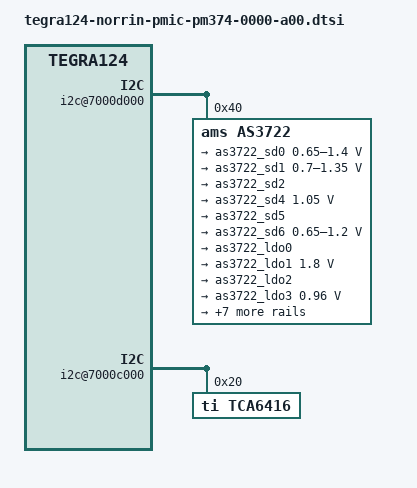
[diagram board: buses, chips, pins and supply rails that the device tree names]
#include <dt-bindings/mfd/as3722.h>

/ {
	i2c@7000d000 {
		as3722: as3722@40 {
			compatible = "ams,as3722";
			reg = <0x40>;
			interrupts = <0 86 IRQ_TYPE_NONE>;

			#interrupt-cells = <2>;
			interrupt-controller;

			gpio-controller;
			#gpio-cells = <2>;

			ams,major-rev = <1>;
			ams,minor-rev = <1>;
			system-pmic-power-off;
			ams,enable-clock32k-out;
			ams,oc-pg-mask = <AS3722_OC_PG_MASK_AC_OK>;

			pinctrl-names = "default";
			pinctrl-0 = <&as3722_default>;

			as3722_default: pinmux@0 {
				gpio0 {
					pins = "gpio0";
					function = "gpio";
					output-low;
				};

				gpio1_2_4_7 {
					pins = "gpio1", "gpio2", "gpio4", "gpio7";
					function = "gpio";
					output-high;
				};

				gpio3_6 {
					pins = "gpio3", "gpio6";
					function = "gpio";
					bias-high-impedance;
				};

				gpio5 {
					pins = "gpio5";
					function = "clk32k-out";
				};
			};

			adc_extcon: adc_extcon {
				ams,enable-adc1-continuous-mode;
				ams,enable-low-voltage-range;
				ams,adc-channel = <12>;
				ams,hi-threshold = <256>;
				ams,low-threshold = <128>;
				#extcon-cells = <1>;
				#io-channel-cells = <1>;
			};

			regulators {
				ldo0-in-supply = <&as3722_sd2>;
				ldo2-in-supply = <&as3722_sd5>;
				ldo5-in-supply = <&as3722_sd5>;
				ldo7-in-supply = <&as3722_sd5>;

				as3722_sd0: sd0 {
				    regulator-name = "vdd-cpu";
				    regulator-min-microvolt = <650000>;
				    regulator-max-microvolt = <1400000>;
				    regulator-max-microamp = <3500000>;
				    regulator-always-on;
				    regulator-boot-on;
				    ams,ext-control = <AS3722_EXT_CONTROL_PIN_ENABLE2>;
				    consumers {
					c0 {
					     regulator-consumer-supply = "vdd_cpu";
					};
				    };
				};

				as3722_sd1: sd1 {
				    regulator-name = "vdd-core";
				    regulator-min-microvolt = <700000>;
				    regulator-max-microvolt = <1350000>;
				    regulator-max-microamp = <3500000>;
				    regulator-always-on;
				    regulator-boot-on;
				    ams,ext-control = <AS3722_EXT_CONTROL_PIN_ENABLE1>;
				    consumers {
					c0 {
					     regulator-consumer-supply = "vdd_core";
					};
				    };
				};

				as3722_sd2: sd2 {
				     regulator-name = "vddio-ddr";
				     regulator-always-on;
				     regulator-boot-on;
				     consumers {
					c0 {
					     regulator-consumer-supply = "vddio_ddr";
					};
					c1 {
					     regulator-consumer-supply = "vddio_ddr_mclk";
					};
					c2 {
					     regulator-consumer-supply = "vddio_ddr3";
					};
					c3 {
					     regulator-consumer-supply = "vcore1_ddr3";
					};
				     };
				};

				as3722_sd4: sd4 {
				    regulator-name = "avdd-pll-pex";
				    regulator-min-microvolt = <1050000>;
				    regulator-max-microvolt = <1050000>;
				    regulator-always-on;
				    regulator-boot-on;
				    ams,ext-control = <AS3722_EXT_CONTROL_PIN_ENABLE1>;
				    consumers {
					c0 {
					     regulator-consumer-supply = "avdd_pex_pll";
					};
					c1 {
					     regulator-consumer-supply = "avddio_pex_pll";
					};
					c2 {
					     regulator-consumer-supply = "dvddio_pex";
					};
					c4 {
					     regulator-consumer-supply = "avdd_sata";
					};
					c5 {
					     regulator-consumer-supply = "vdd_sata";
					};
					c6 {
					     regulator-consumer-supply = "avdd_sata_pll";
					};
					c8 {
					     regulator-consumer-supply = "avdd_hdmi";
					     regulator-consumer-device = "tegradc.1";
					};
				    };
				};

				as3722_sd5: sd5 {
				    regulator-name = "vdd-1v8";
				    regulator-always-on;
				    regulator-boot-on;
				    consumers {
					c0 {
					     regulator-consumer-supply = "vddio_sys";
					};
					c1 {
					     regulator-consumer-supply = "vddio_sys_2";
					};
					c2 {
					     regulator-consumer-supply = "vddio_audio";
					};
					c4 {
					     regulator-consumer-supply = "vddio_sdmmc";
					     regulator-consumer-device = "sdhci-tegra.0";
					};
					c6 {
					     regulator-consumer-supply = "vddio_sdmmc";
					     regulator-consumer-device = "sdhci-tegra.3";
					};
					c8 {
					     regulator-consumer-supply = "vddio_uart";
					};
					c10 {
					     regulator-consumer-supply = "vddio_bb";
					};
					c12 {
					     regulator-consumer-supply = "vddio_gmi";
					};
					c14 {
					     regulator-consumer-supply = "avdd_osc";
					};
				    };
				};

				as3722_sd6: sd6 {
				    regulator-name = "vdd-gpu";
				    regulator-min-microvolt = <650000>;
				    regulator-max-microvolt = <1200000>;
				    regulator-max-microamp = <3500000>;
				    regulator-init-microvolt = <1000000>;
				    regulator-boot-on;

				    consumers {
					c0 {
					     regulator-consumer-supply = "vdd_gpu";
					};
				    };
				};

				as3722_ldo0: ldo0 {
				     regulator-name = "avdd-pll";
				     regulator-always-on;
				     regulator-boot-on;
				     ams,ext-control = <AS3722_EXT_CONTROL_PIN_ENABLE1>;

				     consumers {
					c0 {
					     regulator-consumer-supply = "avdd_pll_m";
					};
					c1 {
					     regulator-consumer-supply = "avdd_pll_ap_c2_c3";
					};
					c2 {
					     regulator-consumer-supply = "avdd_pll_cud2dpd";
					};
					c3 {
					     regulator-consumer-supply = "avdd_pll_c4";
					};
					c4 {
					     regulator-consumer-supply = "avdd_lvds0_io";
					};
					c5 {
					     regulator-consumer-supply = "vddio_ddr_hs";
					};
					c6 {
					     regulator-consumer-supply = "avdd_pll_erefe";
					};
					c7 {
					     regulator-consumer-supply = "avdd_pll_x";
					};
					c8 {
					     regulator-consumer-supply = "avdd_pll_cg";
					};
				    };
				};

				as3722_ldo1: ldo1 {
				     regulator-name = "vdd-cam";
				     regulator-min-microvolt = <1800000>;
				     regulator-max-microvolt = <1800000>;
				     regulator-boot-on;

				     consumers {
					c0 {
					     regulator-consumer-supply = "vddio_cam";
					     regulator-consumer-device = "vi";
					};
					c2 {
					     regulator-consumer-supply = "vdd_cam_1v8_cam";
					};
					c3 {
					     regulator-consumer-supply = "vif";
					     regulator-consumer-device = "2-0010";
					};
					c4 {
					     regulator-consumer-supply = "vdd_i2c";
					     regulator-consumer-device = "2-000e";
					};
					c5 {
					     regulator-consumer-supply = "vif";
					     regulator-consumer-device = "2-0036";
					};
					c6 {
					     regulator-consumer-supply = "vdd_i2c";
					     regulator-consumer-device = "2-000c";
					};
					c7 {
					     regulator-consumer-supply = "vi2c";
					     regulator-consumer-device = "2-0030";
					};
				    };
				};

				as3722_ldo2: ldo2 {
				     regulator-name = "avdd-dsi-csi";
				     regulator-boot-on;

				     consumers {
					c0 {
					     regulator-consumer-supply = "avdd_dsi_csi";
					     regulator-consumer-device = "tegradc.0";
					};
					c1 {
					     regulator-consumer-supply = "avdd_dsi_csi";
					     regulator-consumer-device = "tegradc.1";
					};
					c2 {
					     regulator-consumer-supply = "avdd_dsi_csi";
					     regulator-consumer-device = "vi.0";
					};
					c3 {
					     regulator-consumer-supply = "avdd_dsi_csi";
					     regulator-consumer-device = "vi.1";
					};
					c5 {
					     regulator-consumer-supply = "avdd_hsic_com";
					};
					c6 {
					     regulator-consumer-supply = "avdd_hsic_mdm";
					};
					c7 {
					     regulator-consumer-supply = "vddio_hsic";
					     regulator-consumer-device = "tegra-ehci.1";
					};
					c8 {
					     regulator-consumer-supply = "vddio_hsic";
					     regulator-consumer-device = "tegra-ehci.2";
					};
				    };
				};

				as3722_ldo3: ldo3 {
				     regulator-name = "vdd-rtc";
				     regulator-min-microvolt = <960000>;
				     regulator-max-microvolt = <960000>;
				     regulator-always-on;
				     regulator-boot-on;
				     ams,enable-tracking;

				     consumers {
					c0 {
					     regulator-consumer-supply = "vdd_rtc";
					};
				    };
				};

				as3722_ldo4: ldo4 {
				     regulator-name = "avdd-cam";
				     regulator-min-microvolt = <2700000>;
				     regulator-max-microvolt = <2700000>;

				     consumers {
					c0 {
					     regulator-consumer-supply = "vdd_2v7_hv";
					};
					c1 {
					     regulator-consumer-supply = "avdd_cam2_cam";
					};
					c2 {
					     regulator-consumer-supply = "vana";
					     regulator-consumer-device = "2-0010";
					};
				    };
				};

				as3722_ldo5: ldo5 {
				     regulator-name = "vdd-1v2-cam";
				     regulator-min-microvolt = <1200000>;
				     regulator-max-microvolt = <1200000>;

				     consumers {
					c0 {
					     regulator-consumer-supply = "vdd_1v2_cam";
					};
					c1 {
					     regulator-consumer-supply = "vdig";
					     regulator-consumer-device = "2-0010";
					};
					c2 {
					     regulator-consumer-supply = "vdig";
					     regulator-consumer-device = "2-0036";
					};
				    };
				};

				as3722_ldo6: ldo6 {
				     regulator-name = "vddio-sdmmc2";
				     regulator-min-microvolt = <1800000>;
				     regulator-max-microvolt = <3300000>;

				     consumers {
					c0 {
					     regulator-consumer-supply = "vddio_sdmmc";
					     regulator-consumer-device = "sdhci-tegra.2";
					};
				    };
				};

				as3722_ldo7: ldo7 {
				     regulator-name = "vdd-v1275-cam";
				     regulator-min-microvolt = <1275000>;
				     regulator-max-microvolt = <1275000>;

				     consumers {
					c0 {
					     regulator-consumer-supply = "vdd_cam_1v1_cam";
					};
					c1 {
					     regulator-consumer-supply = "imx135_reg2";
					};
					c2 {
					     regulator-consumer-supply = "vdig_lv";
					     regulator-consumer-device = "2-0010";
					};
					c3 {
					     regulator-consumer-supply = "dvdd";
					     regulator-consumer-device = "2-0010";
					};
				    };
				};

				as3722_ldo9: ldo9 {
				     regulator-name = "avdd-spi";
				     regulator-min-microvolt = <3300000>;
				     regulator-max-microvolt = <3300000>;
				     regulator-boot-on;

				     consumers {
					c0 {
					     regulator-consumer-supply = "avdd";
					     regulator-consumer-device = "spi0.0";
					};
					c1 {
					     regulator-consumer-supply = "avdd";
					     regulator-consumer-device = "spi2.1";
					};
				    };
				};

				as3722_ldo10: ldo10 {
				      regulator-name = "vdd-2v7-cam";
				      regulator-min-microvolt = <2700000>;
				      regulator-max-microvolt = <2700000>;

				     consumers {
					c0 {
					     regulator-consumer-supply = "avdd_af1_cam";
					};
					c1 {
					     regulator-consumer-supply = "avdd_cam1_cam";
					};
					c2 {
					     regulator-consumer-supply = "imx135_reg1";
					};
					c3 {
					     regulator-consumer-supply = "vdd";
					     regulator-consumer-device = "2-000e";
					};
					c4 {
					     regulator-consumer-supply = "vana";
					     regulator-consumer-device = "2-0036";
					};
					c5 {
					     regulator-consumer-supply = "vdd";
					     regulator-consumer-device = "2-000c";
					};
				    };
				};

				as3722_ldo11: ldo11 {
				      regulator-name = "vpp-fuse";
				      regulator-min-microvolt = <1800000>;
				      regulator-max-microvolt = <1800000>;
				};
			};
		};
	};

	i2c@7000c000 {
		tca6416: gpio@20 {
			 compatible = "ti,tca6416";
			 reg = <0x20>;
			 gpio-controller;
			#gpio-cells = <2>;
		 };
	};
};
